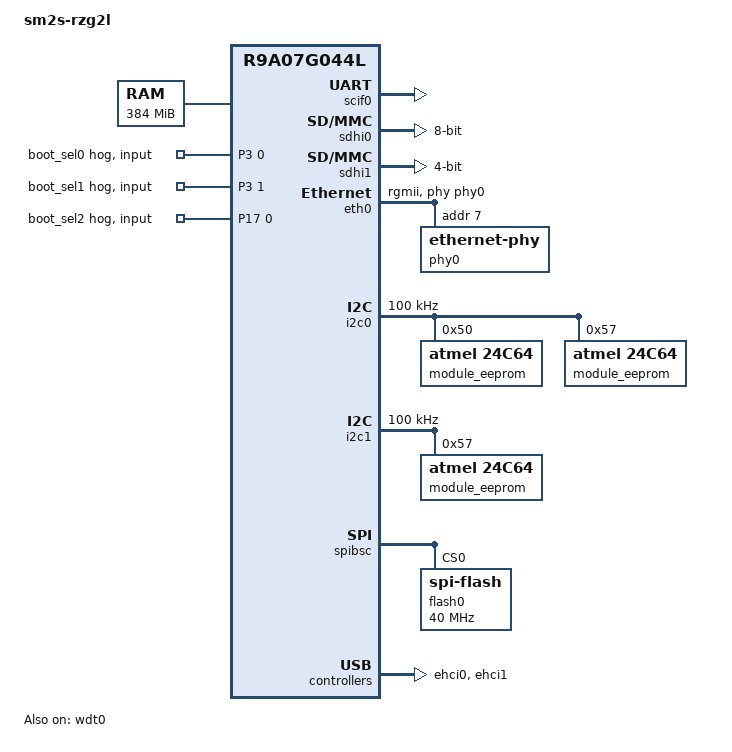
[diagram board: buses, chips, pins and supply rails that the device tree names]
// SPDX-License-Identifier: GPL-2.0
/*
 * Device Tree Source for the Avnet sm2s-rzg2l board
 *
 * Copyright (C) 2022-23 AVNET Embedded, MSC Technologies GmbH
 */

/dts-v1/;
#include <dt-bindings/gpio/gpio.h>
#include "r9a07g044l.dtsi"
#include "r9a07g044l-u-boot.dtsi"
#include <dt-bindings/pinctrl/rzg2l-pinctrl.h>

/ {
	model = "sm2s-rzg2l";
	compatible = "renesas,r9a07g044l", "renesas,rzg2l";

	aliases {
		serial0 = &scif0;
		spi0 = &spibsc;
	};

	chosen {
		stdout-path = "serial0:115200n8";
	};

	memory@48000000 {
		device_type = "memory";
		/* first 128MB is reserved for secure area. */
		reg = <0 0x48000000 0 0x18000000>;
	};
};

&soc {
	/delete-node/ ethernet@11c30000;
};

&P3 {
	boot_sel0 {
	        gpio-hog;
	        gpios = <0 GPIO_ACTIVE_HIGH>;
	        input;
	        line-name = "boot_sel0";
	};

	boot_sel1 {
	        gpio-hog;
	        gpios = <1 GPIO_ACTIVE_HIGH>;
	        input;
	        line-name = "boot_sel1";
	};
};

&P17 {
	boot_sel2 {
	        gpio-hog;
	        gpios = <0 GPIO_ACTIVE_HIGH>;
	        input;
	        line-name = "boot_sel2";
	};
};


&pinctrl {
	eth0_pins: eth0 {
		pinmux = <RZG2L_PINMUX(20, 0, 1)>,
				<RZG2L_PINMUX(20, 1, 1)>,
				<RZG2L_PINMUX(20, 2, 1)>,
				<RZG2L_PINMUX(21, 0, 1)>,
				<RZG2L_PINMUX(21, 1, 1)>,
				<RZG2L_PINMUX(22, 0, 1)>,
				<RZG2L_PINMUX(22, 1, 1)>,
				<RZG2L_PINMUX(23, 0, 1)>,
				<RZG2L_PINMUX(23, 1, 1)>,
				<RZG2L_PINMUX(24, 0, 1)>,
				<RZG2L_PINMUX(24, 1, 1)>,
				<RZG2L_PINMUX(25, 0, 1)>,
				<RZG2L_PINMUX(25, 1, 1)>,
				<RZG2L_PINMUX(26, 0, 1)>,
				<RZG2L_PINMUX(26, 1, 1)>,
				<RZG2L_PINMUX(27, 0, 1)>,
				<RZG2L_PINMUX(27, 1, 1)>,
				<RZG2L_PINMUX(28, 0, 1)>,
				<RZG2L_PINMUX(28, 1, 1)>;
	};

};

&xinclk {
        clock-frequency = <24000000>;
};

&scif0 {
	status = "okay";
	clock = <100000000>;
};

&sdhi0 {
	bus-width = <8>;
	status = "okay";
	/* This is used for interface that support both eMMC and SD in board */
	mutual-channel;
};

&sdhi1 {
	bus-width = <4>;
	status = "okay";
};

&eth0 {
	pinctrl-names = "default";
	pinctrl-0 = <&eth0_pins>;
	status = "okay";

	phy-handle = <&phy0>;
	phy-mode = "rgmii";
	phy0: ethernet-phy@7 {
		reg = <7>;
	};
};

&i2c0 {
	status = "okay";
	clock-frequency = <100000>;
	pinctrl-names = "default";

	module_eeprom@50 {
		compatible = "atmel,24c64";
		reg = <0x50>;
		pagesize = <32>;
	};

	module_eeprom@57 {
		compatible = "atmel,24c64";
		reg = <0x57>;
		pagesize = <32>;
	};
};

&i2c1 {
	status = "okay";
	pinctrl-names = "default";
	clock-frequency = <100000>;

	module_eeprom@57 {
		compatible = "atmel,24c64";
		reg = <0x57>;
		pagesize = <32>;
	};
};

&spibsc {
	num-cs = <1>;
	status = "okay";
	spi-max-frequency = <40000000>;
	#address-cells = <1>;
	#size-cells = <0>;
	flash0: spi-flash@0 {
		#address-cells = <1>;
		#size-cells = <1>;
		compatible = "spi-flash", "jedec,spi-nor";
		spi-max-frequency = <40000000>;
		spi-tx-bus-width = <1>;
		spi-rx-bus-width = <1>;
		reg = <0>;
		status = "okay";
	};
};

&ehci0 {
	status = "okay";
};

&ehci1 {
	status = "okay";
};

&wdt0 {
	status = "okay";
	timeout-sec = <60>;
};
